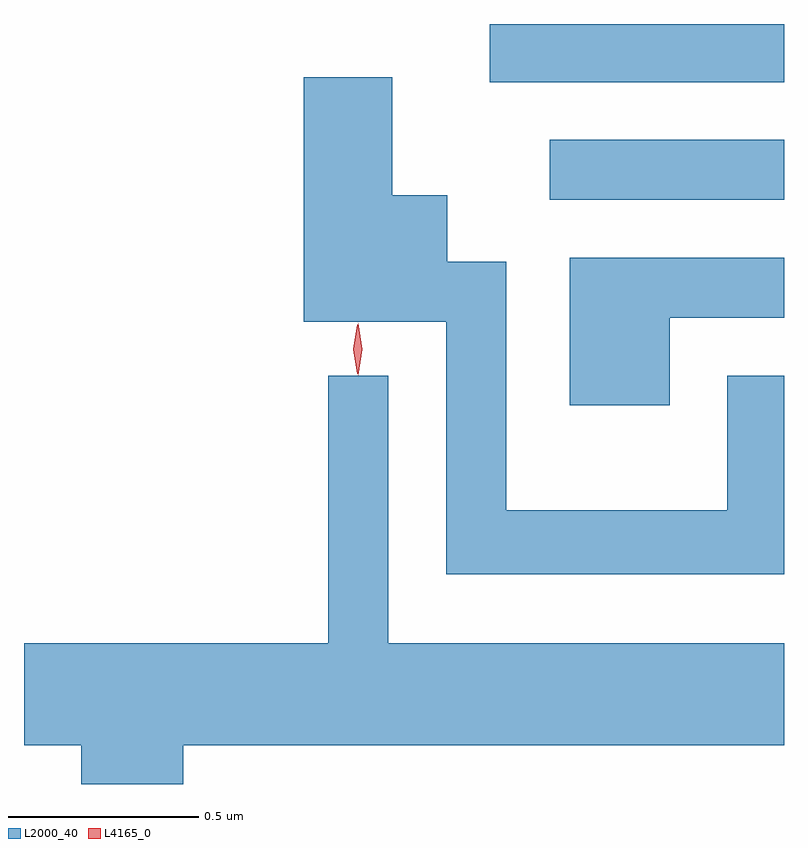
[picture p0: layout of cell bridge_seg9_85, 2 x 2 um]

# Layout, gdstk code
import gdstk
lib = gdstk.Library(unit=1e-6, precision=1e-09)
def R(c, l, rs):  # rectangles x0, y0, x1, y1
    for r in rs: c.add(gdstk.rectangle(r[:2], r[2:], *l))
def P(c, l, *ps):  # polygons
    for p in ps: c.add(gdstk.Polygon(p, *l))
L2000_40 = (2000, 40)
L4165_0 = (4165, 0)

bridge_seg9_85 = lib.new_cell('bridge_seg9_85')
R(bridge_seg9_85, L2000_40, [(1774.748,1977.711,1775.365,1977.869), (1774.591,1978.021,1775.365,1978.174)])
P(bridge_seg9_85, L2000_40, [(1775.365,1977.249),(1775.216,1977.249),(1775.216,1976.894),(1774.634,1976.894),(1774.634,1977.549),(1774.479,1977.549),(1774.479,1977.724),(1774.334,1977.724),(1774.334,1978.034),(1774.101,1978.034),(1774.101,1977.391),(1774.476,1977.391),(1774.476,1976.726),(1775.365,1976.726)],
  [(1775.064,1977.401),(1775.365,1977.401),(1775.365,1977.559),(1774.801,1977.559),(1774.801,1977.171),(1775.064,1977.171)],
  [(1773.784,1976.276),(1775.365,1976.276),(1775.365,1976.544),(1774.324,1976.544),(1774.324,1977.248),(1774.166,1977.248),(1774.166,1976.544),(1773.365,1976.544),(1773.365,1976.276),(1773.516,1976.276),(1773.516,1976.174),(1773.784,1976.174)])
P(bridge_seg9_85, L4165_0, [(1774.244,1977.25),(1774.235,1977.318),(1774.244,1977.386),(1774.244,1977.386),(1774.245,1977.386),(1774.255,1977.318),(1774.245,1977.25),(1774.245,1977.25)],
  [(1774.242,1977.253),(1774.242,1977.253),(1774.232,1977.318),(1774.242,1977.382),(1774.242,1977.383),(1774.243,1977.382),(1774.252,1977.318),(1774.243,1977.253)])

lib.write_gds('bridge_seg9_85.gds')
